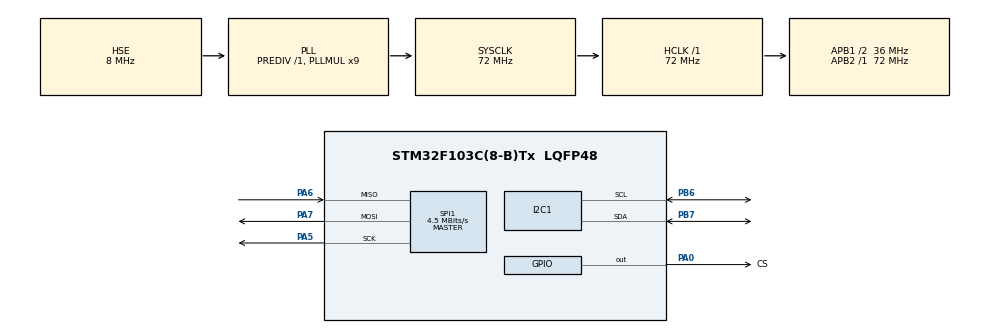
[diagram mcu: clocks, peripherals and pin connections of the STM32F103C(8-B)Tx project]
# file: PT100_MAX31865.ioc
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I2C1.I2C_Mode=I2C_Fast
Mcu.Family=STM32F1
Mcu.Name=STM32F103C(8-B)Tx
Mcu.Package=LQFP48
NVIC.PriorityGroup=NVIC_PRIORITYGROUP_4
PA0-WKUP.GPIO_Label=CS
PA0-WKUP.Signal=GPIO_Output
PA13.Mode=Serial_Wire
PA13.Signal=SYS_JTMS-SWDIO
PA14.Mode=Serial_Wire
PA14.Signal=SYS_JTCK-SWCLK
PA5.Mode=Full_Duplex_Master
PA5.Signal=SPI1_SCK
PA6.Mode=Full_Duplex_Master
PA6.Signal=SPI1_MISO
PA7.Mode=Full_Duplex_Master
PA7.Signal=SPI1_MOSI
PB6.Mode=I2C
PB6.Signal=I2C1_SCL
PB7.Mode=I2C
PB7.Signal=I2C1_SDA
PD0-OSC_IN.Mode=HSE-External-Oscillator
PD0-OSC_IN.Signal=RCC_OSC_IN
PD1-OSC_OUT.Mode=HSE-External-Oscillator
PD1-OSC_OUT.Signal=RCC_OSC_OUT
ProjectManager.HeapSize=0x200
ProjectManager.StackSize=0x400
ProjectManager.TargetToolchain=STM32CubeIDE
RCC.AHBFreq_Value=72000000
RCC.APB1CLKDivider=RCC_HCLK_DIV2
RCC.APB1Freq_Value=36000000
RCC.APB1TimFreq_Value=72000000
RCC.APB2Freq_Value=72000000
RCC.APB2TimFreq_Value=72000000
RCC.HCLKFreq_Value=72000000
RCC.PLLMUL=RCC_PLL_MUL9
RCC.PLLSourceVirtual=RCC_PLLSOURCE_HSE
RCC.SYSCLKFreq_VALUE=72000000
RCC.SYSCLKSource=RCC_SYSCLKSOURCE_PLLCLK
RCC.USBFreq_Value=48000000
RCC.USBPrescaler=RCC_USBCLKSOURCE_PLL_DIV1_5
SPI1.BaudRatePrescaler=SPI_BAUDRATEPRESCALER_16
SPI1.CLKPhase=SPI_PHASE_2EDGE
SPI1.CLKPolarity=SPI_POLARITY_LOW
SPI1.CalculateBaudRate=4.5 MBits/s
SPI1.Direction=SPI_DIRECTION_2LINES
SPI1.Mode=SPI_MODE_MASTER
SPI1.VirtualType=VM_MASTER
board=custom

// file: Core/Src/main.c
/* USER CODE BEGIN Header */
/**
 ******************************************************************************
 * @file           : main.c
 * @brief          : Main program body
 ******************************************************************************
 * @attention
 *
 * <h2><center>&copy; Copyright (c) 2021 STMicroelectronics.
 * All rights reserved.</center></h2>
 *
 * This software component is licensed by ST under BSD 3-Clause license,
 * the "License"; You may not use this file except in compliance with the
 * License. You may obtain a copy of the License at:
 *                        opensource.org/licenses/BSD-3-Clause
 *
 ******************************************************************************
 */
/* USER CODE END Header */
#include "main.h"

/* USER CODE BEGIN Includes */
#include "MAX31865_lib.h"
#include <stdio.h>
#include <stdbool.h>
#include "fonts.h"
#include "ssd1306.h"

 char temperature[35];
float PT100_Temperature = 0.0f;

unsigned long Time;
/* USER CODE END Includes */

I2C_HandleTypeDef hi2c1;

SPI_HandleTypeDef hspi1;

void SystemClock_Config(void);
static void MX_GPIO_Init(void);
static void MX_SPI1_Init(void);
static void MX_I2C1_Init(void);

int main(void)
{

  /* MCU Configuration--------------------------------------------------------*/

  /* Reset of all peripherals, Initializes the Flash interface and the Systick. */
  HAL_Init();

  /* Configure the system clock */
  SystemClock_Config();

  /* Initialize all configured peripherals */
  MX_GPIO_Init();
  MX_SPI1_Init();
  MX_I2C1_Init();
  /* USER CODE BEGIN 2 */

	MAX31865_Init(3); // num of wires
	  SSD1306_Init();
	    SSD1306_GotoXY (0,0);
	    SSD1306_Puts ("OZGE", &Font_11x18, 1);
	    SSD1306_GotoXY (0, 30);
	    SSD1306_Puts ("DURGUT", &Font_11x18, 1);
	    SSD1306_UpdateScreen();
	    HAL_Delay (500);

	    SSD1306_ScrollRight(0,7);
	    HAL_Delay(3000);
	    SSD1306_ScrollLeft(0,7);
	    HAL_Delay(3000);
	    SSD1306_Stopscroll();
	    SSD1306_Clear();

	    SSD1306_GotoXY (35,25);
	    SSD1306_Puts ("Temp", &Font_11x18, 1);
	    SSD1306_UpdateScreen();
	    HAL_Delay (1000);
	    SSD1306_Clear();

  /* USER CODE END 2 */

  /* Infinite loop */
	while (1) {

    /* USER CODE BEGIN 3 */
	//	PT100_Temperature = MAX31865_Get_Temperature();
		if (HAL_GetTick() - Time >= 1000) {
			Time = HAL_GetTick();
			//PT100_Temperature = 25.78;
			PT100_Temperature = MAX31865_Get_Temperature();

			if (PT100_Temperature >= 0) {
				PT100_Temperature = PT100_Temperature + 0.05;
				sprintf(temperature, "%d.%d ", (uint16_t) (PT100_Temperature),((uint16_t) (PT100_Temperature * 100) - ((uint16_t) PT100_Temperature) * 100) / 10);

				//sprintf(temperature, "%d°C  ", (uint16_t) (PT100_Temperature));
			} else {
				PT100_Temperature = -PT100_Temperature + 0.05;
			//	sprintf(temperature, "-%d.%d°C ", (uint16_t) (PT100_Temperature),((uint16_t) (PT100_Temperature * 100) - ((uint16_t) PT100_Temperature) * 100) / 10);
				sprintf(temperature, "-%d  ", (uint16_t) (PT100_Temperature));

			}
			   //   gcvt (PT100_Temperature, 10, temperature); // gcvt ( float value, int ndigits, char * buff);
				  SSD1306_GotoXY (0, 30);
				  SSD1306_Puts ("             ", &Font_16x26, 1);
				  SSD1306_UpdateScreen();
				  SSD1306_GotoXY (0,25);
				  SSD1306_Puts (temperature, &Font_11x18, 1);
				  SSD1306_UpdateScreen();
				  HAL_Delay (500);

		}
	}
  /* USER CODE END 3 */
}

void SystemClock_Config(void)
{
  RCC_OscInitTypeDef RCC_OscInitStruct = {0};
  RCC_ClkInitTypeDef RCC_ClkInitStruct = {0};

  /** Initializes the RCC Oscillators according to the specified parameters
  * in the RCC_OscInitTypeDef structure.
  */
  RCC_OscInitStruct.OscillatorType = RCC_OSCILLATORTYPE_HSE;
  RCC_OscInitStruct.HSEState = RCC_HSE_ON;
  RCC_OscInitStruct.HSEPredivValue = RCC_HSE_PREDIV_DIV1;
  RCC_OscInitStruct.HSIState = RCC_HSI_ON;
  RCC_OscInitStruct.PLL.PLLState = RCC_PLL_ON;
  RCC_OscInitStruct.PLL.PLLSource = RCC_PLLSOURCE_HSE;
  RCC_OscInitStruct.PLL.PLLMUL = RCC_PLL_MUL9;
  if (HAL_RCC_OscConfig(&RCC_OscInitStruct) != HAL_OK)
  {
    Error_Handler();
  }
  /** Initializes the CPU, AHB and APB buses clocks
  */
  RCC_ClkInitStruct.ClockType = RCC_CLOCKTYPE_HCLK|RCC_CLOCKTYPE_SYSCLK
                              |RCC_CLOCKTYPE_PCLK1|RCC_CLOCKTYPE_PCLK2;
  RCC_ClkInitStruct.SYSCLKSource = RCC_SYSCLKSOURCE_PLLCLK;
  RCC_ClkInitStruct.AHBCLKDivider = RCC_SYSCLK_DIV1;
  RCC_ClkInitStruct.APB1CLKDivider = RCC_HCLK_DIV2;
  RCC_ClkInitStruct.APB2CLKDivider = RCC_HCLK_DIV1;

  if (HAL_RCC_ClockConfig(&RCC_ClkInitStruct, FLASH_LATENCY_2) != HAL_OK)
  {
    Error_Handler();
  }
}

static void MX_I2C1_Init(void)
{

  hi2c1.Instance = I2C1;
  hi2c1.Init.ClockSpeed = 400000;
  hi2c1.Init.DutyCycle = I2C_DUTYCYCLE_2;
  hi2c1.Init.OwnAddress1 = 0;
  hi2c1.Init.AddressingMode = I2C_ADDRESSINGMODE_7BIT;
  hi2c1.Init.DualAddressMode = I2C_DUALADDRESS_DISABLE;
  hi2c1.Init.OwnAddress2 = 0;
  hi2c1.Init.GeneralCallMode = I2C_GENERALCALL_DISABLE;
  hi2c1.Init.NoStretchMode = I2C_NOSTRETCH_DISABLE;
  if (HAL_I2C_Init(&hi2c1) != HAL_OK)
  {
    Error_Handler();
  }

}

static void MX_SPI1_Init(void)
{

  /* SPI1 parameter configuration*/
  hspi1.Instance = SPI1;
  hspi1.Init.Mode = SPI_MODE_MASTER;
  hspi1.Init.Direction = SPI_DIRECTION_2LINES;
  hspi1.Init.DataSize = SPI_DATASIZE_8BIT;
  hspi1.Init.CLKPolarity = SPI_POLARITY_LOW;
  hspi1.Init.CLKPhase = SPI_PHASE_2EDGE;
  hspi1.Init.NSS = SPI_NSS_SOFT;
  hspi1.Init.BaudRatePrescaler = SPI_BAUDRATEPRESCALER_16;
  hspi1.Init.FirstBit = SPI_FIRSTBIT_MSB;
  hspi1.Init.TIMode = SPI_TIMODE_DISABLE;
  hspi1.Init.CRCCalculation = SPI_CRCCALCULATION_DISABLE;
  hspi1.Init.CRCPolynomial = 10;
  if (HAL_SPI_Init(&hspi1) != HAL_OK)
  {
    Error_Handler();
  }

}

static void MX_GPIO_Init(void)
{
  GPIO_InitTypeDef GPIO_InitStruct = {0};

  /* GPIO Ports Clock Enable */
  __HAL_RCC_GPIOD_CLK_ENABLE();
  __HAL_RCC_GPIOA_CLK_ENABLE();
  __HAL_RCC_GPIOB_CLK_ENABLE();

  /*Configure GPIO pin Output Level */
  HAL_GPIO_WritePin(CS_GPIO_Port, CS_Pin, GPIO_PIN_RESET);

  /*Configure GPIO pin : CS_Pin */
  GPIO_InitStruct.Pin = CS_Pin;
  GPIO_InitStruct.Mode = GPIO_MODE_OUTPUT_PP;
  GPIO_InitStruct.Pull = GPIO_NOPULL;
  GPIO_InitStruct.Speed = GPIO_SPEED_FREQ_LOW;
  HAL_GPIO_Init(CS_GPIO_Port, &GPIO_InitStruct);

}

void Error_Handler(void)
{
	__disable_irq();
	while (1) {
	}
}

/************************ (C) COPYRIGHT STMicroelectronics *****END OF FILE****/
